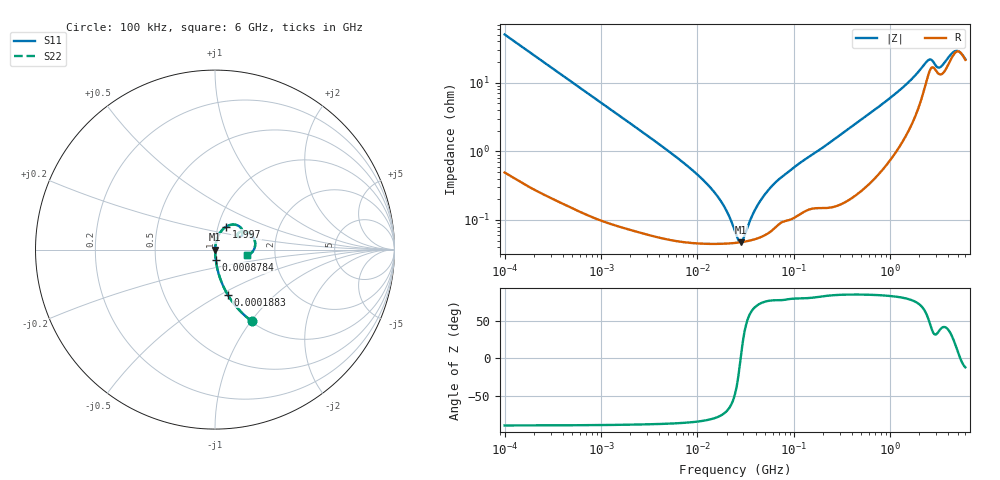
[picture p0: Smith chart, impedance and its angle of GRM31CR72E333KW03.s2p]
!Murata Part Number: GRM31CR72E333KW03
!These Parameters are Measured in Series Mode Connection
!Data Generated on Mar 30, 2021
!  o--ll--o
!Port1  Port2
!  o------o
!Operation Temp=25[degC], DC Bias Voltage=0[V]
!Freq. Start=100[kHz] Stop=6[GHz] 401[Steps]
# Hz S RI R 50
!Freq.(Hz) S11(Real) S11(Imag) S21(Real) S21(Imag) S12(Real) S12(Imag) S22(Real) S22(Imag)
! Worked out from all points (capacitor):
!   401 points, 100 kHz to 6 GHz, reference 50 ohm
!   read as one part in series: C = 31.4 nF near 105.7 kHz
!   lowest |Z| = 47.4 mohm at 28.11 MHz (marker M1)
!   series resonance near 28.05 MHz, so ESL is about 1 nH
!   S11 on the Smith chart (normalised r, x): 100 kHz: 1.01, -1.01; 188.3 kHz: 1.01, -0.54; 878.4 kHz: 1.00, -0.12; 1.997 GHz: 1.09, +0.29; 6 GHz: 1.43, -0.09
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100000  0.2064 -0.3999  0.7936 0.3999  0.7936 0.3999  0.2064 -0.3999
188254  0.0703 -0.2503  0.9297 0.2503  0.9297 0.2503  0.0703 -0.2503
631452  0.00779 -0.0804  0.9922 0.0804  0.9922 0.0804  0.00779 -0.0804
878385  0.00444 -0.0581  0.9956 0.0581  0.9956 0.0581  0.00444 -0.0581
3987316  0.000716 -0.0128  0.9993 0.0128  0.9993 0.0128  0.000716 -0.0128
8612937  0.000493 -0.00549  0.9995 0.00549  0.9995 0.00549  0.000493 -0.00549
1.413084e7  0.000455 -0.00276  0.9995 0.00276  0.9995 0.00276  0.000455 -0.00276
1.965679e7  0.000454 -0.00135  0.9995 0.00135  0.9995 0.00135  0.000454 -0.00135
2.517799e7  0.000465 -0.000404  0.9995 0.000404  0.9995 0.000404  0.000465 -0.000404
2.810622e7  0.000474 7.5e-06  0.9995 -7.5e-06  0.9995 -7.5e-06  0.000474 7.5e-06
3.05238e7  0.000482 0.000316  0.9995 -0.000316  0.9995 -0.000316  0.000482 0.000316
4.018763e7  0.00053 0.00137  0.9995 -0.00137  0.9995 -0.00137  0.00053 0.00137
5.438656e7  0.000651 0.00266  0.9993 -0.00266  0.9993 -0.00266  0.000651 0.00266
7.160533e7  0.000904 0.00393  0.9991 -0.00393  0.9991 -0.00393  0.000904 0.00393
1.546735e8  0.00154 0.0088  0.9985 -0.0088  0.9985 -0.0088  0.00154 0.0088
9.76689e8  0.0105 0.0574  0.9895 -0.0574  0.9895 -0.0574  0.0105 0.0574
1.996807e9  0.062 0.1278  0.938 -0.1278  0.938 -0.1278  0.062 0.1278
2.488279e9  0.1369 0.1286  0.8631 -0.1286  0.8631 -0.1286  0.1369 0.1286
3.276068e9  0.1243 0.0805  0.8757 -0.0805  0.8757 -0.0805  0.1243 0.0805
3.971646e9  0.1661 0.1011  0.8339 -0.1011  0.8339 -0.1011  0.1661 0.1011
4.68428e9  0.2187 0.0586  0.7813 -0.0586  0.7813 -0.0586  0.2187 0.0586
6e9  0.1786 -0.0313  0.8214 0.0313  0.8214 0.0313  0.1786 -0.0313
